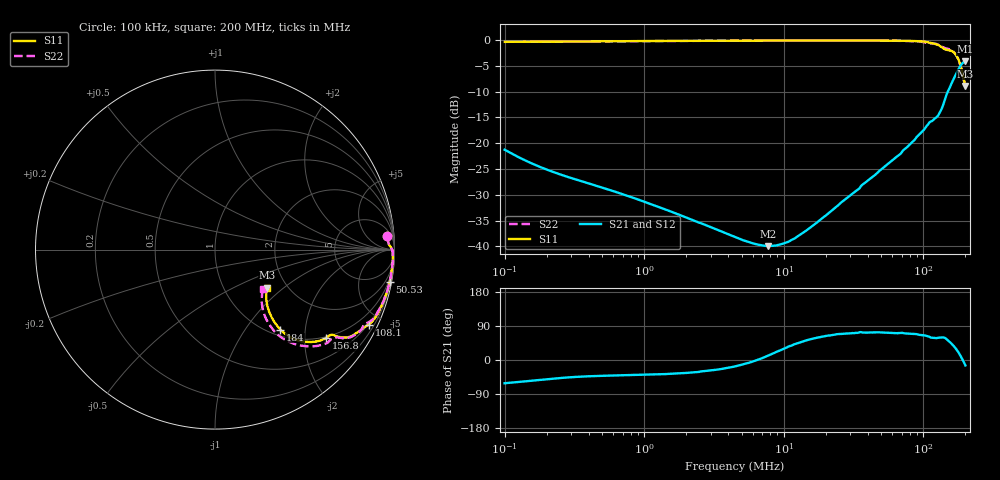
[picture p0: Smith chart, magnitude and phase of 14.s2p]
#  HZ  S  RI  R  50.00
! Rohde & Schwarz Vector Network Analyzer
! Rohde-Schwarz,ZNLE6-2Port,1323001256200024,1.71.1.10-23.02.1.238
! Created: UTC 4/7/2025, 8:20:53 AM
! freq[Hz]  re:S11  im:S11  re:S21  im:S21  re:S12  im:S12  re:S22  im:S22
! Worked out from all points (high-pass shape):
!   1001 points, 100 kHz to 200 MHz, reference 50 ohm
!   highest |S21| = -4.12 dB at 200 MHz (marker M1); lowest = -39.9 dB at 7.672 MHz (marker M2)
!   |S21| within 3 dB of the highest: 167.4 MHz to end of sweep
!   lowest |S11| = -8.9 dB at 200 MHz (marker M3), VSWR 2.12, Z = 79.4 - j38.7 ohm
!   |S11| at or under -10 dB: nowhere
!   |S22| runs from -9.2 to -0.1 dB; largest |S21 - S12| = 0.016
!   S11 on the Smith chart (normalised r, x): 100 kHz: 10, +21; 50.53 MHz: 1, -11; 108.1 MHz: 0.47, -4.28; 156.8 MHz: 0.96, -2.54; 184 MHz: 1.11, -1.48; 200 MHz: 1.59, -0.77
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100000  0.959 0.075  0.0415 -0.076  0.0416 -0.0761  0.9589 0.0754
182297.8  0.9642 0.0453  0.036 -0.046  0.0361 -0.0461  0.9643 0.0454
355854.1  0.9693 0.0286  0.0309 -0.0296  0.031 -0.0297  0.9694 0.0287
1266322  0.981 0.0117  0.0191 -0.0148  0.0191 -0.0149  0.981 0.0114
4472136  0.9882 -0.00733  0.0118 -0.00359  0.0117 -0.00375  0.9891 -0.00703
6061166  0.9893 -0.0142  0.0107 -0.00066  0.0106 -0.000757  0.9898 -0.0143
7671638  0.9903 -0.0211  0.00986 0.00199  0.00996 0.0017  0.9902 -0.0217
1.071849e7  0.9908 -0.0328  0.00908 0.00632  0.00934 0.00605  0.9908 -0.0341
1.591428e7  0.9903 -0.0521  0.00884 0.013  0.00898 0.0128  0.9907 -0.0544
2.990698e7  0.9863 -0.1031  0.0105 0.0295  0.0107 0.0292  0.9863 -0.107
5.052933e7  0.9737 -0.1784  0.0169 0.054  0.0184 0.0532  0.9722 -0.1843
5.663162e7  0.9684 -0.2016  0.0198 0.0611  0.0216 0.0601  0.966 -0.2085
8.344716e7  0.931 -0.3075  0.0371 0.096  0.0404 0.0949  0.9218 -0.3217
1.080554e8  0.8566 -0.4178  0.0704 0.1356  0.0738 0.1343  0.8368 -0.4133
1.192779e8  0.8047 -0.4534  0.0902 0.1452  0.0945 0.1442  0.8096 -0.4523
1.306689e8  0.732 -0.4896  0.1009 0.1691  0.1025 0.1639  0.7438 -0.4909
1.420639e8  0.6644 -0.4779  0.1368 0.2231  0.1368 0.22  0.6811 -0.4889
1.568184e8  0.6194 -0.4929  0.2555 0.2596  0.2593 0.2516  0.6213 -0.5221
1.717946e8  0.4975 -0.5127  0.4142 0.2279  0.4171 0.2135  0.4741 -0.5336
1.83958e8  0.3643 -0.4456  0.5497 0.1166  0.5511 0.1007  0.3328 -0.4573
1.910838e8  0.3076 -0.3605  0.6001 0.00613  0.5999 -0.00837  0.2761 -0.3658
2e8  0.2908 -0.2121  0.6031 -0.1544  0.6029 -0.1694  0.2661 -0.2217
